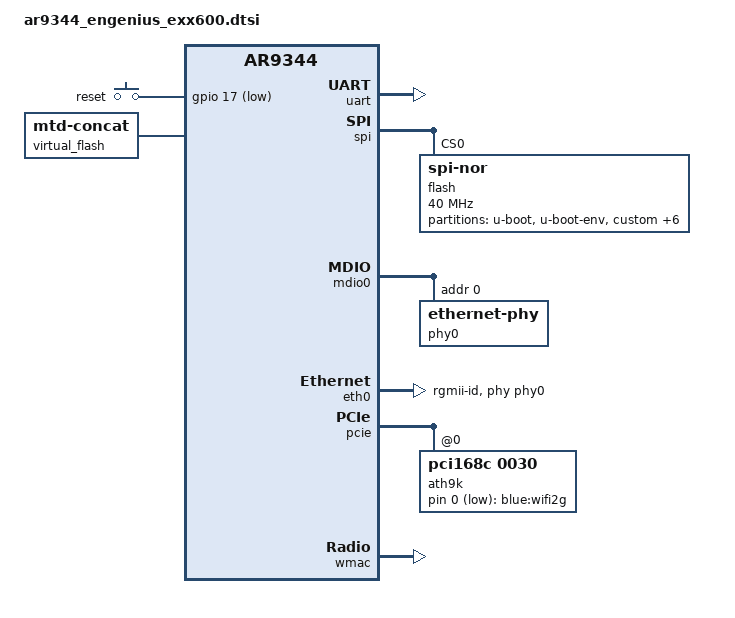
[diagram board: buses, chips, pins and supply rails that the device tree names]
// SPDX-License-Identifier: GPL-2.0-or-later OR MIT

#include "ar9344.dtsi"

#include <dt-bindings/gpio/gpio.h>
#include <dt-bindings/input/input.h>
#include <dt-bindings/mtd/partitions/uimage.h>

/ {
	aliases {
		label-mac-device = &eth0;
		led-boot = &led_power;
		led-failsafe = &led_power;
		led-running = &led_power;
		led-upgrade = &led_power;
		serial0 = &uart;
	};

	keys {
		compatible = "gpio-keys";

		reset {
			label = "reset";
			gpios = <&gpio 17 GPIO_ACTIVE_LOW>;
			debounce-interval = <60>;
			linux,code = <KEY_RESTART>;
		};
	};

	ath9k-leds {
		compatible = "gpio-leds";

		wifi2g {
			label = "blue:wifi2g";
			gpios = <&ath9k 0 GPIO_ACTIVE_LOW>;
			linux,default-trigger = "phy1tpt";
		};
	};

	virtual_flash {
		compatible = "mtd-concat";

		devices = <&fwconcat0 &fwconcat1>;

		partitions {
			compatible = "fixed-partitions";
			#address-cells = <1>;
			#size-cells = <1>;

			partition@0 {
				compatible = "openwrt,uimage", "denx,uimage";
				openwrt,ih-magic = <IH_MAGIC_OKLI>;
				label = "firmware";
				reg = <0x0 0x0>;
			};
		};
	};
};

&ref {
	clock-frequency = <40000000>;
};

&uart {
	status = "okay";
};

&spi {
	status = "okay";

	flash@0 {
		compatible = "jedec,spi-nor";
		reg = <0>;
		spi-max-frequency = <40000000>;

		partitions {
			compatible = "fixed-partitions";
			#address-cells = <1>;
			#size-cells = <1>;

			partition@0 {
				label = "u-boot";
				reg = <0x000000 0x040000>;
				read-only;
			};

			partition@40000 {
				label = "u-boot-env";
				reg = <0x040000 0x010000>;
			};

			partition@50000 {
				label = "custom";
				reg = <0x050000 0x050000>;
				read-only;
			};

			partition@a0000 {
				label = "loader";
				reg = <0x0a0000 0x010000>;
				read-only;
			};

			fwconcat1: partition@b0000 {
				label = "fwconcat1";
				reg = <0x0b0000 0x170000>;
			};

			partition@220000 {
				label = "fakeroot";
				reg = <0x220000 0x010000>;
				read-only;
			};

			fwconcat0: partition@230000 {
				label = "fwconcat0";
				reg = <0x230000 0xbc0000>;
			};

			partition@df0000 {
				label = "failsafe";
				reg = <0xdf0000 0x200000>;
				read-only;
			};

			art: partition@ff0000 {
				label = "art";
				reg = <0xff0000 0x010000>;
				read-only;
			};
		};
	};
};

&mdio0 {
	status = "okay";

	phy0: ethernet-phy@0 {
		reg = <0>;
		eee-broken-100tx;
		eee-broken-1000t;
	};
};

&eth0 {
	status = "okay";

	phy-handle = <&phy0>;
	phy-mode = "rgmii-id";

	pll-data = <0x02000000 0x00000101 0x00001313>;

	gmac-config {
		device = <&gmac>;
		rgmii-gmac0 = <1>;
		rxdv-delay = <3>;
		rxd-delay = <3>;
	};
};

&pcie {
	status = "okay";

	ath9k: wifi@0,0,0 {
		compatible = "pci168c,0030";
		reg = <0x0 0 0 0 0>;
		qca,disable-5ghz;
		qca,no-eeprom;
		#gpio-cells = <2>;
		gpio-controller;
	};
};

&wmac {
	status = "okay";

	qca,disable-2ghz;

	mtd-cal-data = <&art 0x1000>;
};
